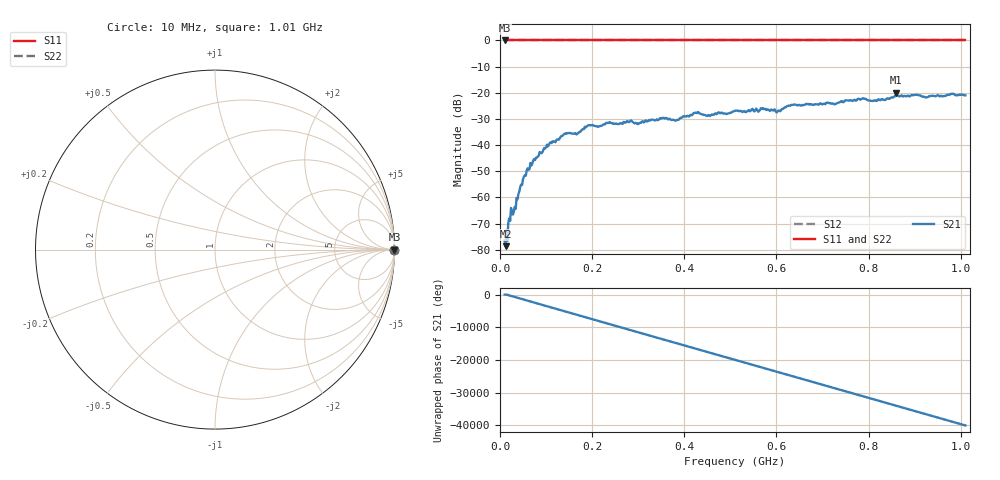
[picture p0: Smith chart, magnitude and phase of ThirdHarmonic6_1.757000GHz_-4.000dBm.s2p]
! 8/16/2025 9:12:04 PM
! C:\ANRITSUVNA\TEMP\TEMP.S2P
! CHANNEL.1
! TR.MEASUREMENT
! RAW.DATA
! RF.CORRECTION.OFF
! AVERAGING.OFF
! IF.BANDWIDTH: 5KHZ
! SWEEPTYPE:  FREQ.SWEEP(Linear)
! Reference Plane Port Info
! PORT:  PORT1  PORT2
! DISTANCE:  0  m  0  m
! TIME:  0  s  0  s
! PHASE.OFFSET:  0  deg.  0  deg.
! LOSS:  0  dB  0  dB
! REF.LOSS:  0  dB  0  dB
! REF.FREQ:  0  Hz  0  Hz
! Power Info
! POWER:  -20  dBm  -20  dBm
! EFF.POWER:  -20  dBm  -20  dBm
! SOURCE.ATTEN:  0  dB  0  dB
! TEST.ATTEN:  0  dB  0  dB
# GHZ S RI R 50.0
! FREQ.GHZ  S11RE  S11IM  S21RE  S21IM  S12RE  S12IM  S22RE  S22IM
!; PortSelection: Port_12
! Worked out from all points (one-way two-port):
!   501 points, 10 MHz to 1.01 GHz, reference 50 ohm
!   highest |S21| = -19.94 dB at 860 MHz (marker M1); lowest = -78.7 dB at 12 MHz (marker M2)
!   lowest |S11| = 0.0 dB at 10 MHz (marker M3)
!   |S11| at or under -10 dB: nowhere
!   |S22| runs from 0.0 to 0.0 dB; largest |S21 - S12| = 1.1
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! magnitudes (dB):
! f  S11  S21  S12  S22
! 10 MHz  0.0  -76.5  0.0  0.0
! 12 MHz  0.0  -78.7  0.0  0.0
! 22 MHz  0.0  -69.0  0.0  0.0
! 30 MHz  0.0  -65.4  0.0  0.0
! 54 MHz  0.0  -51.5  0.0  0.0
! 70 MHz  0.0  -47.2  0.0  0.0
! 110 MHz  0.0  -38.9  0.0  0.0
! 142 MHz  0.0  -35.7  0.0  0.0
! 178 MHz  0.0  -34.1  0.0  0.0
! 194 MHz  0.0  -32.4  0.0  0.0
! 344 MHz  0.0  -30.3  0.0  0.0
! 382 MHz  0.0  -30.6  0.0  0.0
! 426 MHz  0.0  -27.7  0.0  0.0
! 452 MHz  0.0  -28.5  0.0  0.0
! 510 MHz  0.0  -26.9  0.0  0.0
! 570 MHz  0.0  -25.9  0.0  0.0
! 604 MHz  0.0  -26.8  0.0  0.0
! 636 MHz  0.0  -24.6  0.0  0.0
! 678 MHz  0.0  -24.6  0.0  0.0
! 844 MHz  0.0  -22.3  0.0  0.0
! 860 MHz  0.0  -19.9  0.0  0.0
! 1.01 GHz  0.0  -21.0  0.0  0.0
